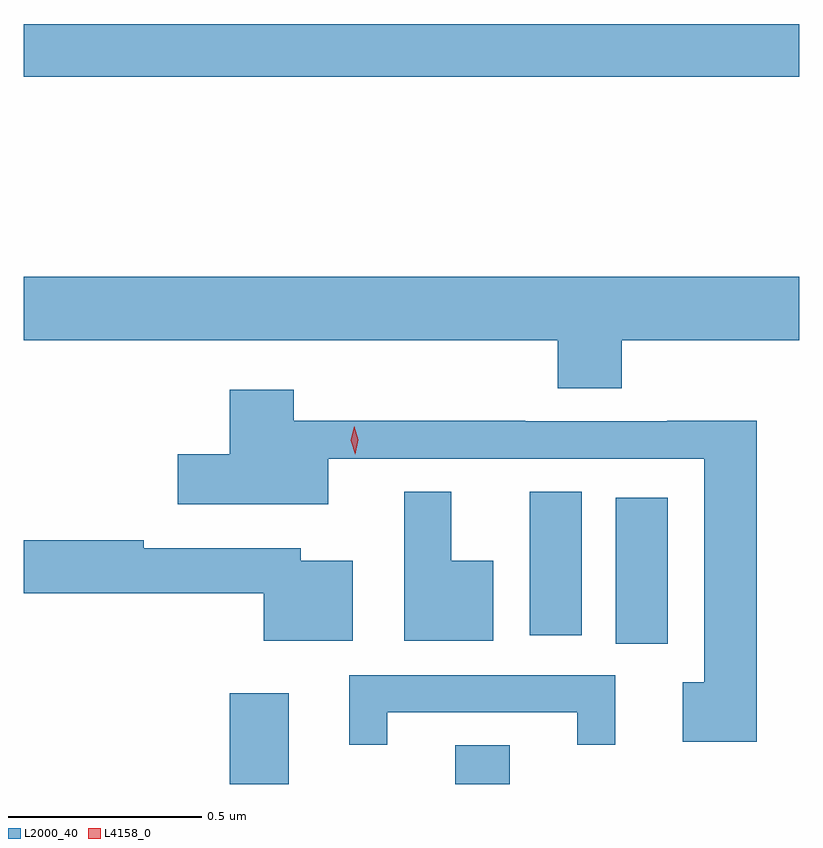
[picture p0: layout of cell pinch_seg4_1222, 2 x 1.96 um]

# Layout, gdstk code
import gdstk
lib = gdstk.Library(unit=1e-6, precision=1e-09)
def R(c, l, rs):  # rectangles x0, y0, x1, y1
    for r in rs: c.add(gdstk.rectangle(r[:2], r[2:], *l))
def P(c, l, *ps):  # polygons
    for p in ps: c.add(gdstk.Polygon(p, *l))
L2000_40 = (2000, 40)
L4158_0 = (4158, 0)

pinch_seg4_1222 = lib.new_cell('pinch_seg4_1222')
R(pinch_seg4_1222, L2000_40, [(552.86,766.372,553.012,766.606), (553.442,766.372,553.582,766.472), (553.856,766.734,553.99,767.11), (553.634,766.755,553.768,767.126), (552.329,768.196,554.329,768.332)])
P(pinch_seg4_1222, L2000_40, [(553.871,767.516),(554.329,767.516),(554.329,767.68),(552.329,767.68),(552.329,767.516),(553.706,767.516),(553.706,767.392),(553.871,767.392)],
  [(554.219,767.309),(553.988,767.309),(553.988,767.307),(553.622,767.307),(553.622,767.309),(553.025,767.309),(553.025,767.389),(552.86,767.389),(552.86,767.223),(552.726,767.223),(552.726,767.093),(553.114,767.093),(553.114,767.211),(554.084,767.211),(554.084,766.634),(554.028,766.634),(554.028,766.481),(554.219,766.481)],
  [(553.54,766.948),(553.432,766.948),(553.432,767.126),(553.31,767.126),(553.31,766.742),(553.54,766.742)],
  [(553.177,766.948),(553.044,766.948),(553.044,766.98),(552.638,766.98),(552.638,767),(552.329,767),(552.329,766.864),(552.948,766.864),(552.948,766.742),(553.177,766.742)],
  [(553.267,766.557),(553.757,766.557),(553.757,766.473),(553.855,766.473),(553.855,766.653),(553.169,766.653),(553.169,766.473),(553.267,766.473)])
P(pinch_seg4_1222, L4158_0, [(553.184,767.223),(553.184,767.223),(553.172,767.259),(553.181,767.295),(553.181,767.295),(553.181,767.295),(553.192,767.26),(553.184,767.223)])

lib.write_gds('pinch_seg4_1222.gds')
